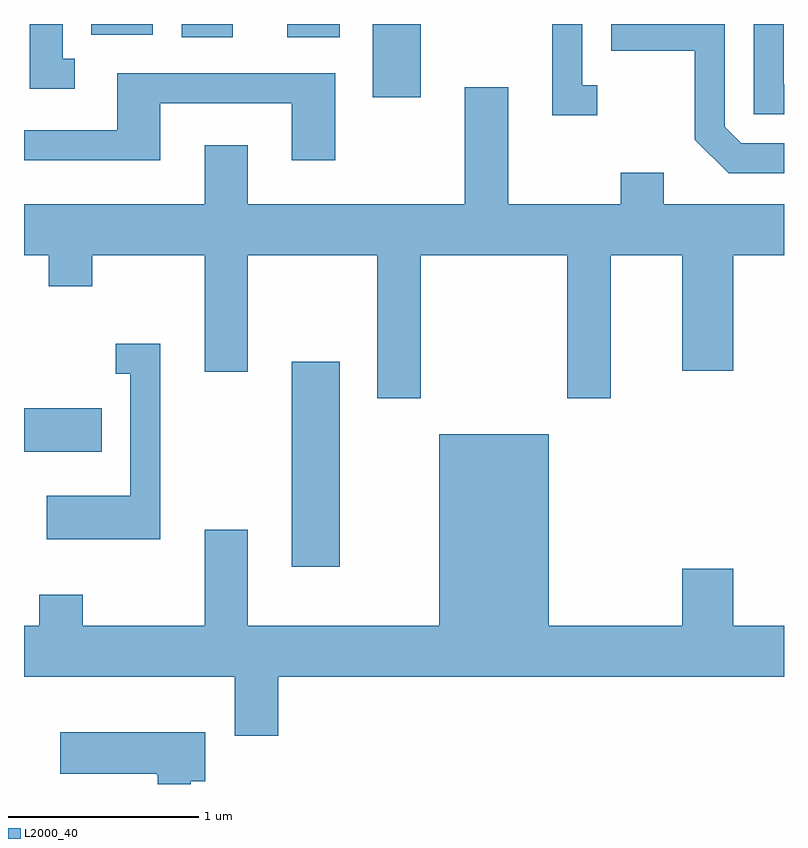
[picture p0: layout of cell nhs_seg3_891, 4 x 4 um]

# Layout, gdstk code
import gdstk
lib = gdstk.Library(unit=1e-6, precision=1e-09)
def R(c, l, rs):  # rectangles x0, y0, x1, y1
    for r in rs: c.add(gdstk.rectangle(r[:2], r[2:], *l))
def P(c, l, *ps):  # polygons
    for p in ps: c.add(gdstk.Polygon(p, *l))
L2000_40 = (2000, 40)

nhs_seg3_891 = lib.new_cell('nhs_seg3_891')
R(nhs_seg3_891, L2000_40, [(213.021,1131.036,213.274,1132.114), (211.611,1131.641,212.019,1131.869), (213.446,1133.506,213.699,1133.892), (212.441,1133.821,212.709,1133.892), (212.996,1133.821,213.274,1133.892), (211.966,1133.836,212.289,1133.892)])
P(nhs_seg3_891, L2000_40, [(215.611,1133.264),(215.387,1133.264),(215.299,1133.352),(215.299,1133.892),(214.701,1133.892),(214.701,1133.751),(215.141,1133.751),(215.141,1133.284),(215.319,1133.106),(215.611,1133.106)],
  [(214.628,1133.569),(214.549,1133.569),(214.549,1133.892),(214.391,1133.892),(214.391,1133.411),(214.628,1133.411)],
  [(211.878,1133.709),(211.814,1133.709),(211.814,1133.892),(211.641,1133.892),(211.641,1133.551),(211.878,1133.551)],
  [(215.611,1133.574),(215.609,1133.574),(215.609,1133.892),(215.451,1133.892),(215.451,1133.416),(215.611,1133.416)],
  [(212.329,1133.476),(213.021,1133.476),(213.021,1133.176),(213.249,1133.176),(213.249,1133.634),(212.101,1133.634),(212.101,1133.334),(211.611,1133.334),(211.611,1133.176),(212.329,1133.176)],
  [(213.699,1132.676),(214.471,1132.676),(214.471,1131.921),(214.699,1131.921),(214.699,1132.676),(215.076,1132.676),(215.076,1132.066),(215.344,1132.066),(215.344,1132.676),(215.611,1132.676),(215.611,1132.944),(214.979,1132.944),(214.979,1133.109),(214.751,1133.109),(214.751,1132.944),(214.159,1132.944),(214.159,1133.559),(213.931,1133.559),(213.931,1132.944),(212.789,1132.944),(212.789,1133.254),(212.561,1133.254),(212.561,1132.944),(211.611,1132.944),(211.611,1132.676),(211.741,1132.676),(211.741,1132.511),(211.969,1132.511),(211.969,1132.676),(212.561,1132.676),(212.561,1132.061),(212.789,1132.061),(212.789,1132.676),(213.471,1132.676),(213.471,1131.921),(213.699,1131.921)],
  [(212.329,1132.209),(212.093,1132.209),(212.093,1132.051),(212.171,1132.051),(212.171,1131.409),(211.731,1131.409),(211.731,1131.181),(212.329,1131.181)],
  [(212.949,1130.456),(215.611,1130.456),(215.611,1130.724),(215.344,1130.724),(215.344,1131.024),(215.076,1131.024),(215.076,1130.724),(214.374,1130.724),(214.374,1131.734),(213.796,1131.734),(213.796,1130.724),(212.789,1130.724),(212.789,1131.229),(212.561,1131.229),(212.561,1130.724),(211.919,1130.724),(211.919,1130.889),(211.691,1130.889),(211.691,1130.724),(211.611,1130.724),(211.611,1130.456),(212.721,1130.456),(212.721,1130.146),(212.949,1130.146)],
  [(212.489,1129.906),(212.564,1129.906),(212.564,1130.164),(211.801,1130.164),(211.801,1129.946),(212.31,1129.946),(212.31,1129.94),(212.316,1129.94),(212.316,1129.892),(212.489,1129.892)])

lib.write_gds('nhs_seg3_891.gds')
